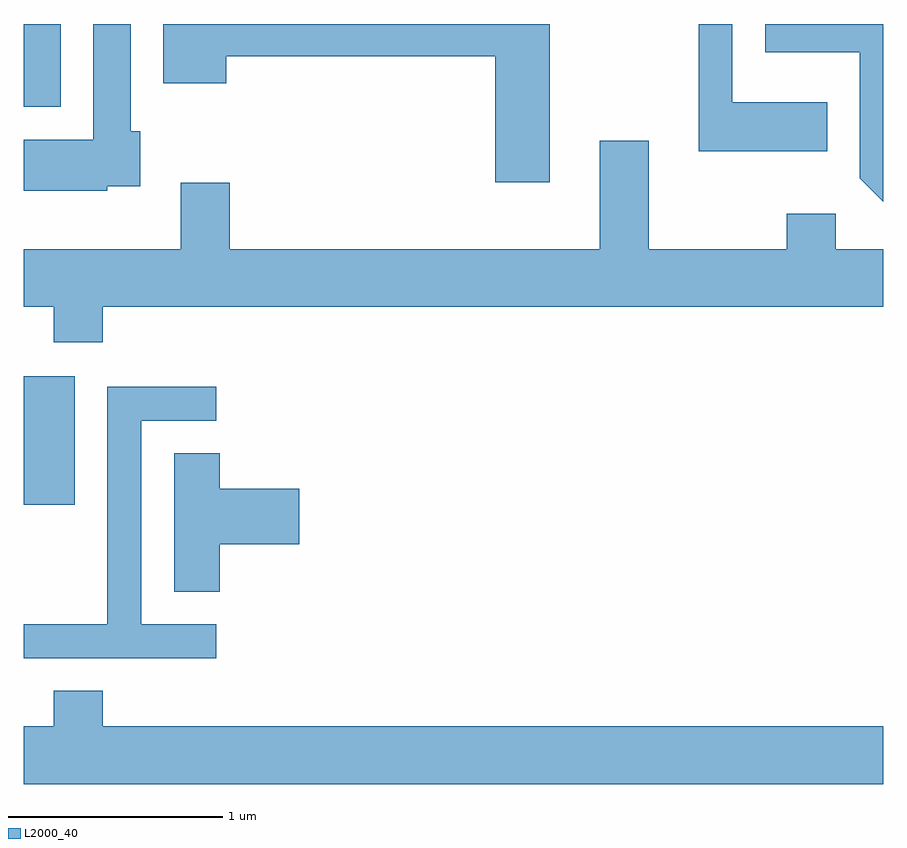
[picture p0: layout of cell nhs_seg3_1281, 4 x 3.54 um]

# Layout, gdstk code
import gdstk
lib = gdstk.Library(unit=1e-6, precision=1e-09)
def R(c, l, rs):  # rectangles x0, y0, x1, y1
    for r in rs: c.add(gdstk.rectangle(r[:2], r[2:], *l))
def P(c, l, *ps):  # polygons
    for p in ps: c.add(gdstk.Polygon(p, *l))
L2000_40 = (2000, 40)

nhs_seg3_1281 = lib.new_cell('nhs_seg3_1281')
R(nhs_seg3_1281, L2000_40, [(221.611,1231.656,221.849,1232.254), (221.611,1233.506,221.784,1233.892)])
P(nhs_seg3_1281, L2000_40, [(225.349,1233.529),(224.909,1233.529),(224.909,1233.892),(224.751,1233.892),(224.751,1233.301),(225.349,1233.301)],
  [(224.059,1233.892),(222.261,1233.892),(222.261,1233.616),(222.554,1233.616),(222.554,1233.741),(223.806,1233.741),(223.806,1233.156),(224.059,1233.156)],
  [(225.611,1233.892),(225.061,1233.892),(225.061,1233.761),(225.501,1233.761),(225.501,1233.174),(225.611,1233.064)],
  [(221.999,1233.136),(222.154,1233.136),(222.154,1233.394),(222.109,1233.394),(222.109,1233.892),(221.936,1233.892),(221.936,1233.354),(221.611,1233.354),(221.611,1233.116),(221.999,1233.116)],
  [(221.979,1232.576),(225.611,1232.576),(225.611,1232.844),(225.389,1232.844),(225.389,1233.009),(225.161,1233.009),(225.161,1232.844),(224.519,1232.844),(224.519,1233.349),(224.291,1233.349),(224.291,1232.844),(222.569,1232.844),(222.569,1233.154),(222.341,1233.154),(222.341,1232.844),(221.611,1232.844),(221.611,1232.576),(221.751,1232.576),(221.751,1232.411),(221.979,1232.411)],
  [(222.508,1231.099),(222.159,1231.099),(222.159,1232.046),(222.508,1232.046),(222.508,1232.204),(222.001,1232.204),(222.001,1231.099),(221.611,1231.099),(221.611,1230.941),(222.508,1230.941)],
  [(222.524,1231.471),(222.894,1231.471),(222.894,1231.729),(222.524,1231.729),(222.524,1231.894),(222.311,1231.894),(222.311,1231.251),(222.524,1231.251)],
  [(225.611,1230.624),(221.979,1230.624),(221.979,1230.789),(221.751,1230.789),(221.751,1230.624),(221.611,1230.624),(221.611,1230.356),(225.611,1230.356)])

lib.write_gds('nhs_seg3_1281.gds')
